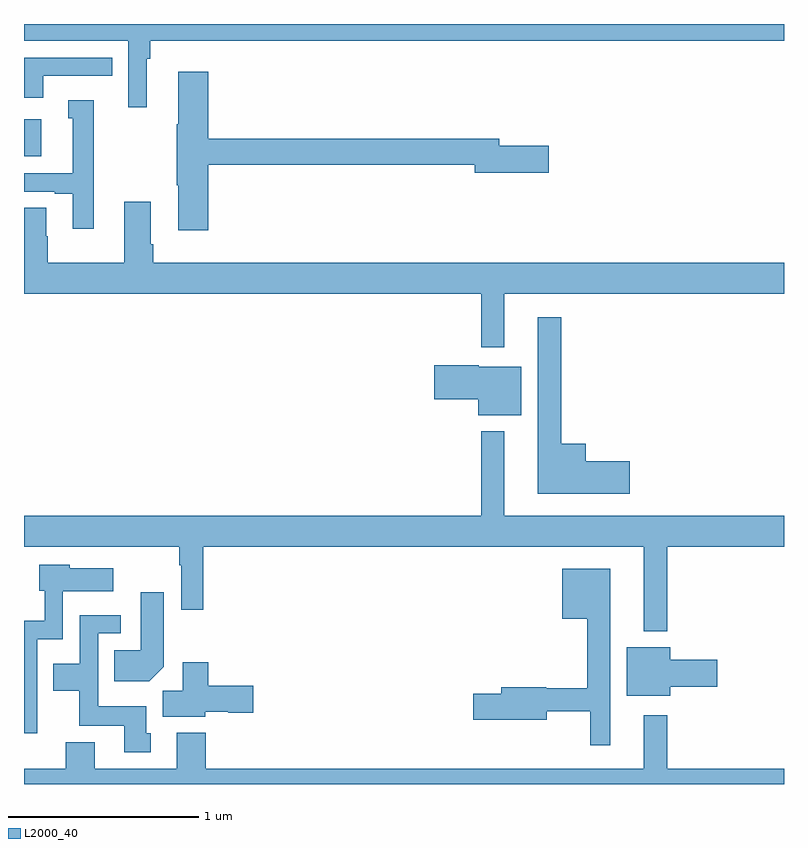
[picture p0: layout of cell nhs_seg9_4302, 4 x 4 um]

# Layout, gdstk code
import gdstk
lib = gdstk.Library(unit=1e-6, precision=1e-09)
def R(c, l, rs):  # rectangles x0, y0, x1, y1
    for r in rs: c.add(gdstk.rectangle(r[:2], r[2:], *l))
def P(c, l, *ps):  # polygons
    for p in ps: c.add(gdstk.Polygon(p, *l))
L2000_40 = (2000, 40)

nhs_seg9_4302 = lib.new_cell('nhs_seg9_4302')
R(nhs_seg9_4302, L2000_40, [(357,1203.803,357.091,1204)])
P(nhs_seg9_4302, L2000_40, [(357.646,1204.316),(357.665,1204.316),(357.665,1204.412),(361,1204.412),(361,1204.5),(357,1204.5),(357,1204.412),(357.549,1204.412),(357.549,1204.062),(357.646,1204.062)],
  [(357.1,1204.227),(357.464,1204.227),(357.464,1204.323),(357.001,1204.323),(357.001,1204.224),(357,1204.224),(357,1204.112),(357.1,1204.112)],
  [(357.971,1203.76),(359.372,1203.76),(359.372,1203.718),(359.761,1203.718),(359.761,1203.86),(359.5,1203.86),(359.5,1203.896),(357.971,1203.896),(357.971,1204.249),(357.812,1204.249),(357.812,1203.973),(357.805,1203.973),(357.805,1203.652),(357.812,1203.652),(357.812,1203.414),(357.971,1203.414)],
  [(357.367,1204.099),(357.233,1204.099),(357.233,1204.005),(357.257,1204.005),(357.257,1203.714),(357,1203.714),(357,1203.618),(357.161,1203.618),(357.161,1203.606),(357.257,1203.606),(357.257,1203.423),(357.367,1203.423)],
  [(359.527,1203.08),(361,1203.08),(361,1203.244),(357.68,1203.244),(357.68,1203.34),(357.667,1203.34),(357.667,1203.565),(357.527,1203.565),(357.527,1203.244),(357.126,1203.244),(357.126,1203.383),(357.118,1203.383),(357.118,1203.533),(357,1203.533),(357,1203.08),(359.406,1203.08),(359.406,1202.799),(359.527,1202.799)],
  [(360.187,1202.198),(359.956,1202.198),(359.956,1202.29),(359.827,1202.29),(359.827,1202.956),(359.705,1202.956),(359.705,1202.027),(360.187,1202.027)],
  [(359.617,1202.695),(359.394,1202.695),(359.394,1202.703),(359.16,1202.703),(359.16,1202.525),(359.39,1202.525),(359.39,1202.441),(359.617,1202.441)],
  [(360.385,1201.748),(361,1201.748),(361,1201.912),(359.527,1201.912),(359.527,1202.356),(359.406,1202.356),(359.406,1201.912),(357,1201.912),(357,1201.748),(357.816,1201.748),(357.816,1201.652),(357.828,1201.652),(357.828,1201.416),(357.944,1201.416),(357.944,1201.748),(360.263,1201.748),(360.263,1201.304),(360.385,1201.304)],
  [(357.07,1201.262),(357.204,1201.262),(357.204,1201.514),(357.469,1201.514),(357.469,1201.636),(357.24,1201.636),(357.24,1201.654),(357.08,1201.654),(357.08,1201.518),(357.108,1201.518),(357.108,1201.359),(357,1201.359),(357,1200.768),(357.07,1200.768)],
  [(360.085,1201.633),(359.834,1201.633),(359.834,1201.37),(359.964,1201.37),(359.964,1201.003),(359.748,1201.003),(359.748,1201.01),(359.513,1201.01),(359.513,1200.974),(359.364,1200.974),(359.364,1200.839),(359.752,1200.839),(359.752,1200.882),(359.981,1200.882),(359.981,1200.705),(360.085,1200.705)],
  [(357.736,1201.118),(357.736,1201.51),(357.614,1201.51),(357.614,1201.204),(357.475,1201.204),(357.475,1201.04),(357.658,1201.04)],
  [(357.667,1200.768),(357.643,1200.768),(357.643,1200.91),(357.39,1200.91),(357.39,1201.293),(357.508,1201.293),(357.508,1201.389),(357.294,1201.389),(357.294,1201.132),(357.155,1201.132),(357.155,1200.992),(357.292,1200.992),(357.292,1200.806),(357.527,1200.806),(357.527,1200.666),(357.667,1200.666)],
  [(360.4,1201.012),(360.649,1201.012),(360.649,1201.154),(360.4,1201.154),(360.4,1201.219),(360.173,1201.219),(360.173,1200.965),(360.4,1200.965)],
  [(357.954,1200.881),(358.074,1200.881),(358.074,1200.874),(358.207,1200.874),(358.207,1201.016),(357.971,1201.016),(357.971,1201.141),(357.836,1201.141),(357.836,1200.992),(357.731,1200.992),(357.731,1200.854),(357.954,1200.854)],
  [(357.803,1200.769),(357.803,1200.58),(357.373,1200.58),(357.373,1200.721),(357.221,1200.721),(357.221,1200.58),(357,1200.58),(357,1200.5),(361,1200.5),(361,1200.58),(360.385,1200.58),(360.385,1200.862),(360.263,1200.862),(360.263,1200.58),(357.956,1200.58),(357.956,1200.769)])

lib.write_gds('nhs_seg9_4302.gds')
